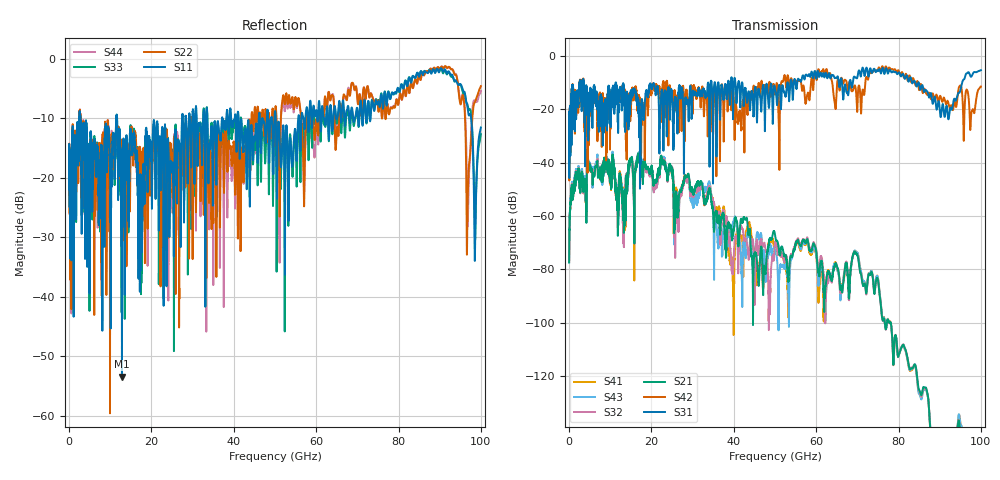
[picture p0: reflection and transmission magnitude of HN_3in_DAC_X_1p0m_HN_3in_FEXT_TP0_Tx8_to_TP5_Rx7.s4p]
# GHz S RI R 45
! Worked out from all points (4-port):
!   4000 points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, 25 MHz to 100 GHz, reference 45 ohm
!   strongest paths, dB at 25 MHz, 25.02 GHz, 50.02 GHz, 75.03 GHz, 100 GHz:
!     S31: -21.6, -16.3, -12.2, -5.7, -5.4
!     S42: -21.7, -14.4, -14.5, -5.1, -11.5
!     S21: -77.4, -43.0, -67.1, -84.0, -
!     S32: -76.5, -42.4, -69.9, -84.1, -194.6
!     S43: -77.3, -42.9, -71.7, -83.3, -193.6
!     S41: -77.2, -43.4, -71.7, -83.2, -
!   lowest |S11| = -53.4 dB at 12.85 GHz (marker M1), VSWR 1.00, Z = 44.9 + j0.171 ohm
!   |S11| at or under -10 dB: 2.753 GHz to 11.48 GHz (8.724 GHz wide, 123 % of centre); 11.68 GHz to 27.44 GHz (15.76 GHz wide, 80.6 % of centre); 50.2 GHz to 55.64 GHz (5.447 GHz wide, 10.3 % of centre)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
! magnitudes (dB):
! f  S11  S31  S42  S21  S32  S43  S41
! 25 MHz  -15.0  -21.6  -21.7  -77.4  -76.5  -77.3  -77.2
! 4.825 GHz  -23.0  -22.8  -25.0  -40.8  -41.0  -40.4  -40.8
! 12.85 GHz  -53.4  -15.1  -11.8  -52.1  -53.0  -51.2  -50.8
! 22.8 GHz  -13.8  -18.7  -9.8  -39.6  -39.1  -38.5  -39.3
! 39.62 GHz  -11.3  -10.2  -13.8  -68.2  -78.7  -64.1  -77.3
! 96.9 GHz  -8.9  -6.1  -14.2  -161.0  -159.8  -159.3  -160.7
! 100 GHz  -11.5  -5.4  -11.5  -  -194.6  -193.6  -
